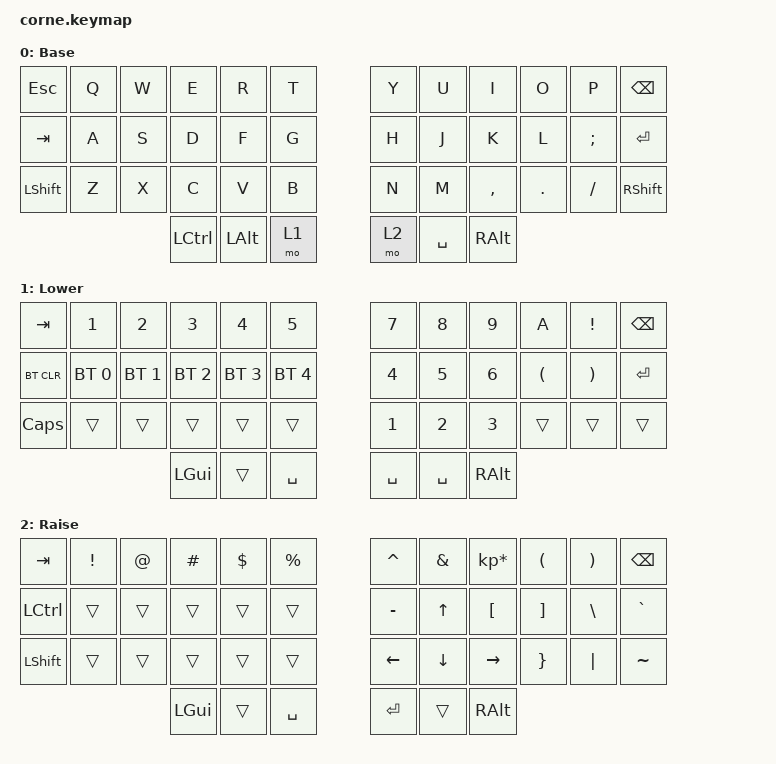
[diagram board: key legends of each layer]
/*
 * Copyright (c) 2020 The ZMK Contributors
 *
 * SPDX-License-Identifier: MIT
 */

#include <behaviors.dtsi>
#include <dt-bindings/zmk/bt.h>
#include <dt-bindings/zmk/keys.h>

/ {
    keymap {
        compatible = "zmk,keymap";

        default_layer {
            // -----------------------------------------------------------------------------------------
            // |  TAB |  Q  |  W  |  E  |  R  |  T  |   |  Y  |  U   |  I  |  O  |  P  | BKSP |
            // | CTRL |  A  |  S  |  D  |  F  |  G  |   |  H  |  J   |  K  |  L  |  ;  |  '   |
            // | SHFT |  Z  |  X  |  C  |  V  |  B  |   |  N  |  M   |  ,  |  .  |  /  | ESC  |
            //                    | GUI | LWR | SPC |   | ENT | RSE  | ALT |

            display-name = "Base";
            bindings = <
&kp ESC    &kp Q  &kp W  &kp E      &kp R         &kp T    &kp Y  &kp U      &kp I      &kp O    &kp P     &kp BSPC
&kp TAB    &kp A  &kp S  &kp D      &kp F         &kp G    &kp H  &kp J      &kp K      &kp L    &kp SEMI  &kp ENTER
&kp LSHFT  &kp Z  &kp X  &kp C      &kp V         &kp B    &kp N  &kp M      &kp COMMA  &kp DOT  &kp FSLH  &kp RIGHT_SHIFT
                         &kp LCTRL  &kp LEFT_ALT  &mo 1    &mo 2  &kp SPACE  &kp RALT
            >;
        };

        lower_layer {
            // -----------------------------------------------------------------------------------------
            // |  TAB |  1  |  2  |  3  |  4  |  5  |   |  6  |  7  |  8  |  9  |  0  | BKSP |
            // | BTCLR| BT1 | BT2 | BT3 | BT4 | BT5 |   | LFT | DWN |  UP | RGT |     |      |
            // | SHFT |     |     |     |     |     |   |     |     |     |     |     |      |
            //                    | GUI |     | SPC |   | ENT |     | ALT |

            display-name = "Lower";
            bindings = <
&kp TAB     &kp N1        &kp N2        &kp N3        &kp N4        &kp N5          &kp NUMBER_7  &kp N8        &kp NUMBER_9  &kp A                 &kp EXCLAMATION        &kp BSPC
&bt BT_CLR  &bt BT_SEL 0  &bt BT_SEL 1  &bt BT_SEL 2  &bt BT_SEL 3  &bt BT_SEL 4    &kp NUMBER_4  &kp NUMBER_5  &kp NUMBER_6  &kp LEFT_PARENTHESIS  &kp RIGHT_PARENTHESIS  &kp ENTER
&kp CAPS    &trans        &trans        &trans        &trans        &trans          &kp NUMBER_1  &kp NUMBER_2  &kp NUMBER_3  &trans                &trans                 &trans
                                        &kp LGUI      &trans        &kp SPACE       &kp SPACE     &kp SPACE     &kp RALT
            >;
        };

        raise_layer {
            // -----------------------------------------------------------------------------------------
            // |  TAB |  !  |  @  |  #  |  $  |  %  |   |  ^  |  &  |  *  |  (  |  )  | BKSP |
            // | CTRL |     |     |     |     |     |   |  -  |  =  |  [  |  ]  |  \  |  `   |
            // | SHFT |     |     |     |     |     |   |  _  |  +  |  {  |  }  | "|" |  ~   |
            //                    | GUI |     | SPC |   | ENT |     | ALT |

            display-name = "Raise";
            bindings = <
&kp TAB    &kp EXCL  &kp AT  &kp HASH  &kp DLLR  &kp PRCNT    &kp CARET       &kp AMPS  &kp KP_MULTIPLY  &kp LPAR  &kp RPAR  &kp BSPC
&kp LCTRL  &trans    &trans  &trans    &trans    &trans       &kp MINUS       &kp UP    &kp LBKT         &kp RBKT  &kp BSLH  &kp GRAVE
&kp LSHFT  &trans    &trans  &trans    &trans    &trans       &kp LEFT_ARROW  &kp DOWN  &kp RIGHT        &kp RBRC  &kp PIPE  &kp TILDE
                             &kp LGUI  &trans    &kp SPACE    &kp RET         &trans    &kp RALT
            >;
        };

        extra_1 { status = "reserved"; };

        extra_2 { status = "reserved"; };

        extra_3 { status = "reserved"; };
    };
};
